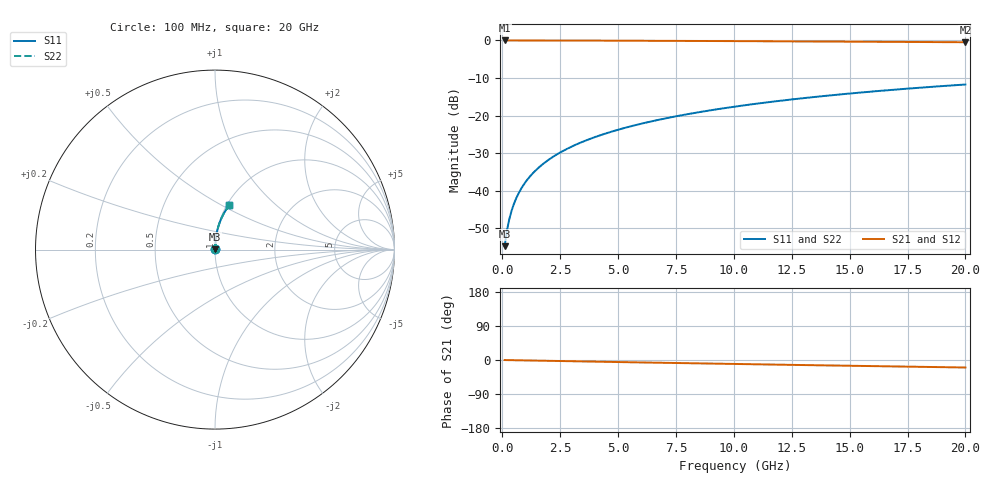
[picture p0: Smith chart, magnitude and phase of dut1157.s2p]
! Touchstone file exported from HFSS 2024.1.0
!  File:  C:/UserFiles/LocalFiles/RDL_TSV_Batchsim/temp_RDL_top_1157_1780048379.aedt
!  Generated:  05:55:30 PM May 29, 2026
!  Design:  RDL_top
!  Project:  temp_RDL_top_1157_1780048379
!  Setup:  Setup1
!  Solution:  Sweep
! Variables:
!  dtsv = 10.80580581um
!  hbump = 3um
!  htsv = 65.4um
!  ldown = 100um
!  lrdl = 203.47um
!  p = 40
!  p1 = 59.5um
!  rhole = 1um
!  t = 450um
!  tdown = 3.915915916um
!  trdl = 4.43um
!  wdown = 15.38538539um
!  wrdl = 14.45um
# GHz S MA R 50.000000
! Terminal data exported
! Port[1] = Box2_T1
! Port[2] = Box2_T2
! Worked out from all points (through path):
!   200 points, 100 MHz to 20 GHz, reference 50 ohm
!   highest |S21| = -0.01 dB at 100 MHz (marker M1); lowest = -0.5 dB at 20 GHz (marker M2)
!   group delay of S21, straight-line fit = 2.74 ps
!   lowest |S11| = -54.8 dB at 100 MHz (marker M3), VSWR 1.00, Z = 50.1 + j0.133 ohm
!   |S11| at or under -10 dB: start of sweep to end of sweep
!   |S22| runs from -54.8 to -11.7 dB; largest |S21 - S12| = 2.4e-15
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0.1  0.001828 46.6  0.9987 -0.1  0.9987 -0.1  0.001828 46.6
! Gamma 0 0 0 0
! Port Impedance 50 0 50 0
0.2  0.002938 64.0  0.9987 -0.2  0.9987 -0.2  0.002938 64.0
0.3  0.004154 71.4  0.9987 -0.3  0.9987 -0.3  0.004154 71.4
0.4  0.005397 75.4  0.9986 -0.4  0.9986 -0.4  0.005397 75.4
0.5  0.00665 77.9  0.9986 -0.6  0.9986 -0.6  0.00665 77.9
0.7  0.009175 80.9  0.9985 -0.8  0.9985 -0.8  0.009175 80.9
0.8  0.01044 81.9  0.9984 -0.9  0.9984 -0.9  0.01044 81.9
1  0.01299 83.2  0.9983 -1.1  0.9983 -1.1  0.01299 83.2
1.2  0.01554 84.0  0.9982 -1.3  0.9982 -1.3  0.01554 84.0
1.4  0.0181 84.6  0.998 -1.5  0.998 -1.5  0.0181 84.6
1.7  0.02195 85.2  0.9977 -1.9  0.9977 -1.9  0.02195 85.2
2  0.02581 85.6  0.9974 -2.2  0.9974 -2.2  0.02581 85.6
2.7  0.03483 85.9  0.9965 -3.0  0.9965 -3.0  0.03483 85.9
3.5  0.04519 85.9  0.9952 -3.8  0.9952 -3.8  0.04519 85.9
4.2  0.0543 85.7  0.9939 -4.6  0.9939 -4.6  0.0543 85.7
5  0.06475 85.3  0.9922 -5.4  0.9922 -5.4  0.06475 85.3
6.8  0.08846 84.2  0.9879 -7.3  0.9879 -7.3  0.08846 84.2
8.3  0.1083 83.1  0.9839 -8.8  0.9839 -8.8  0.1083 83.1
10.1  0.1322 81.6  0.9788 -10.5  0.9788 -10.5  0.1322 81.6
13.4  0.1757 78.6  0.9686 -13.7  0.9686 -13.7  0.1757 78.6
16.7  0.2181 75.5  0.9574 -16.8  0.9574 -16.8  0.2181 75.5
20  0.259 72.3  0.9452 -19.8  0.9452 -19.8  0.259 72.3
